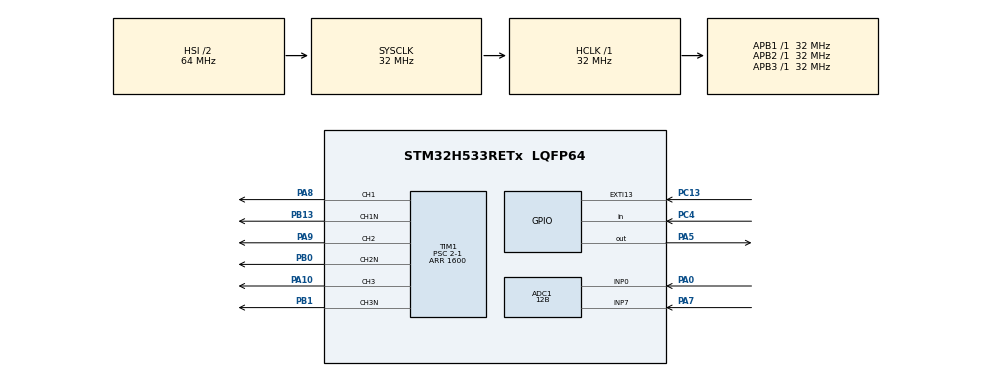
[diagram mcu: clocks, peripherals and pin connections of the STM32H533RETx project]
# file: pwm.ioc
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ADC1.Channel-1\#ChannelRegularConversion=ADC_CHANNEL_0
ADC1.MonitoredBy-1\#ChannelRegularConversion=__NULL
ADC1.NbrOfConversionFlag=1
ADC1.OffsetNumber-1\#ChannelRegularConversion=ADC_OFFSET_NONE
ADC1.Rank-1\#ChannelRegularConversion=1
ADC1.Resolution=ADC_RESOLUTION_12B
ADC1.SamplingTime-1\#ChannelRegularConversion=ADC_SAMPLETIME_2CYCLES_5
ADC1.master=1
BOOTPATH.BootPathName=LEGACY
BOOTPATH.UserSelectedBootPath=LEGACY
CORTEX_M33_NS.userName=CORTEX_M33
Mcu.Family=STM32H5
Mcu.Name=STM32H533RETx
Mcu.Package=LQFP64
NUCLEO-H533RE.BUTTON=1
NUCLEO-H533RE.LD4=true
NUCLEO-H533RE.VCP=true
NVIC.ADC1_IRQn=true\:0\:0\:false\:false\:true\:true\:true\:true
NVIC.EXTI13_IRQn=true\:0\:0\:false\:false\:true\:false\:true\:true
NVIC.PriorityGroup=NVIC_PRIORITYGROUP_4
NVIC.TIM6_IRQn=true\:0\:0\:false\:false\:true\:true\:true\:true
PA0.Signal=ADCx_INP0
PA10.Signal=S_TIM1_CH3
PA11.Signal=S_TIM1_CH4
PA13(JTMS/SWDIO).GPIO_Label=SWDIO
PA13(JTMS/SWDIO).Signal=DEBUG_JTMS-SWDIO
PA14(JTCK/SWCLK).GPIO_Label=SWCLK
PA14(JTCK/SWCLK).Signal=DEBUG_JTCK-SWCLK
PA15(JTDI).GPIO_Label=JTDI
PA15(JTDI).Signal=DEBUG_JTDI
PA2.Signal=USART2_TX
PA3.Signal=USART2_RX
PA5.Signal=GPIO_Output
PA7.Signal=ADCx_INP7
PA8.Signal=S_TIM1_CH1
PA9.Signal=S_TIM1_CH2
PB0.Mode=PWM Generation2 CH2 CH2N
PB0.Signal=TIM1_CH2N
PB1.Mode=PWM Generation3 CH3 CH3N
PB1.Signal=TIM1_CH3N
PB13.Mode=PWM Generation1 CH1 CH1N
PB13.Signal=TIM1_CH1N
PB3(JTDO/TRACESWO).GPIO_Label=SWO
PB3(JTDO/TRACESWO).Signal=DEBUG_JTDO-SWO
PC13.Signal=GPXTI13
PC4.Signal=GPIO_Input
ProjectManager.HeapSize=0x200
ProjectManager.StackSize=0x400
ProjectManager.TargetToolchain=STM32CubeIDE
RCC.ADCFreq_Value=32000000
RCC.AHBFreq_Value=32000000
RCC.APB1Freq_Value=32000000
RCC.APB1TimFreq_Value=32000000
RCC.APB2Freq_Value=32000000
RCC.APB2TimFreq_Value=32000000
RCC.APB3Freq_Value=32000000
RCC.CSI_VALUE=4000000
RCC.CortexFreq_Value=32000000
RCC.EPOD_VALUE=4000000
RCC.HCLKFreq_Value=32000000
RCC.HSE_VALUE=25000000
RCC.HSI48_VALUE=48000000
RCC.HSI_VALUE=64000000
RCC.LSE_VALUE=32768
RCC.LSIRC_VALUE=32000
RCC.SYSCLKFreq_VALUE=32000000
RCC.USBFreq_Value=48000000
RCC.VCOOutputFreq_Value=516000000
SH.ADCx_INP0.0=ADC1_INP0,IN0-Single-Ended
SH.ADCx_INP7.0=ADC1_INP7,IN7-Single-Ended
SH.S_TIM1_CH1.0=TIM1_CH1,PWM Generation1 CH1 CH1N
SH.S_TIM1_CH2.0=TIM1_CH2,PWM Generation2 CH2 CH2N
SH.S_TIM1_CH3.0=TIM1_CH3,PWM Generation3 CH3 CH3N
SH.S_TIM1_CH4.0=TIM1_CH4
TIM1.AsymmetricalDeadTime=ENABLE
TIM1.AutoReloadPreload=TIM_AUTORELOAD_PRELOAD_ENABLE
TIM1.Channel-PWM\ Generation1\ CH1\ CH1N=TIM_CHANNEL_1
TIM1.Channel-PWM\ Generation2\ CH2\ CH2N=TIM_CHANNEL_2
TIM1.Channel-PWM\ Generation3\ CH3\ CH3N=TIM_CHANNEL_3
TIM1.CounterMode=TIM_COUNTERMODE_CENTERALIGNED3
TIM1.DeadTime=75
TIM1.DeadTimePreload=DISABLE
TIM1.FallingDeadTime=75
TIM1.OCMode_PWM-PWM\ Generation2\ CH2\ CH2N=TIM_OCMODE_PWM1
TIM1.OCMode_PWM-PWM\ Generation3\ CH3\ CH3N=TIM_OCMODE_PWM1
TIM1.PeriodNoDither=1600
TIM1.Prescaler=2-1
TIM1.PulseNoDither_2=0
TIM1.PulseNoDither_3=0
TIM6.AutoReloadPreload=TIM_AUTORELOAD_PRELOAD_DISABLE
TIM6.PeriodNoDither=9143
TIM6.Prescaler=0
TIM6.TIM_MasterOutputTrigger=TIM_TRGO_RESET
VP_BOOTPATH_VS_BOOTPATH.Mode=BP_Activate
VP_CORTEX_M33_NS_VS_Hclk.Mode=Hclk_Mode
VP_MEMORYMAP_VS_MEMORYMAP.Mode=CurAppReg
VP_NUCLEO-H533RE_VS_BSP_COMMON.Mode=COMMON
VP_PWR_VS_LPOM.Mode=PowerOptimisation
VP_PWR_VS_SECSignals.Mode=Security/Privilege
VP_TIM1_VS_ClockSourceINT.Mode=Internal
VP_TIM6_VS_ClockSourceINT.Mode=Enable_Timer
board=NUCLEO-H533RE

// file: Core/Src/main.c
/* USER CODE BEGIN Header */
#include <stdbool.h>
/* USER CODE END Header */
#include "main.h"

COM_InitTypeDef BspCOMInit;
ADC_HandleTypeDef hadc1;

TIM_HandleTypeDef htim1;
TIM_HandleTypeDef htim6;

void SystemClock_Config(void);
static void MX_GPIO_Init(void);
static void MX_TIM6_Init(void);
static void MX_TIM1_Init(void);
static void MX_ADC1_Init(void);
/* USER CODE BEGIN PFP */
static void toggleUserLed(void);
/* USER CODE END PFP */

/* USER CODE BEGIN 0 */
uint16_t lookup_index = 0;
const uint16_t lookup_size = 100;
const uint16_t lookup1[100] = { 800, 849, 898, 946, 994, 1042, 1088, 1133, 1177, 1220, 1260, 1299, 1336, 1371, 1404, 1434, 1461, 1487, 1509, 1528, 1545, 1559, 1570, 1577, 1582, 1584, 1582, 1577, 1570, 1559, 1545, 1528, 1509, 1487, 1461, 1434, 1404, 1371, 1336, 1299, 1260, 1220, 1177, 1133, 1088, 1042, 994, 946, 898, 849, 799, 750, 701, 653, 605, 557, 511, 466, 422, 379, 339, 300, 263, 228, 195, 165, 138, 112, 90, 71, 54, 40, 29, 22, 17, 16, 17, 22, 29, 40, 54, 71, 90, 112, 138, 165, 195, 228, 263, 300, 339, 379, 422, 466, 511, 557, 605, 653, 701, 750 };
const uint16_t lookup2[100] = { 1478, 1453, 1424, 1393, 1360, 1324, 1286, 1247, 1206, 1163, 1118, 1073, 1026, 979, 930, 881, 832, 783, 734, 685, 636, 589, 542, 496, 451, 407, 366, 325, 287, 251, 217, 185, 156, 129, 105, 83, 65, 49, 36, 26, 20, 16, 16, 18, 24, 33, 44, 59, 77, 97, 121, 146, 175, 206, 239, 275, 313, 352, 393, 436, 481, 526, 573, 620, 669, 718, 767, 816, 865, 914, 963, 1010, 1057, 1103, 1148, 1192, 1233, 1274, 1312, 1348, 1382, 1414, 1443, 1470, 1494, 1516, 1534, 1550, 1563, 1573, 1579, 1583, 1583, 1581, 1575, 1566, 1555, 1540, 1522, 1502 };
const uint16_t lookup3[100] = { 121, 97, 77, 59, 44, 33, 24, 18, 16, 16, 20, 26, 36, 49, 65, 83, 105, 129, 156, 185, 217, 251, 287, 325, 366, 407, 451, 496, 542, 589, 636, 685, 734, 783, 832, 881, 930, 979, 1026, 1073, 1118, 1163, 1206, 1247, 1286, 1324, 1360, 1393, 1424, 1453, 1478, 1502, 1522, 1540, 1555, 1566, 1575, 1581, 1583, 1583, 1579, 1573, 1563, 1550, 1534, 1516, 1494, 1470, 1443, 1414, 1382, 1348, 1312, 1274, 1233, 1192, 1148, 1103, 1057, 1010, 963, 914, 865, 816, 767, 718, 669, 620, 573, 526, 481, 436, 393, 352, 313, 275, 239, 206, 175, 146 };

uint16_t AD_RES = 0;

/* USER CODE END 0 */

int main(void)
{

  /* MCU Configuration--------------------------------------------------------*/

  /* Reset of all peripherals, Initializes the Flash interface and the Systick. */
  HAL_Init();

  /* Configure the system clock */
  SystemClock_Config();

  /* Initialize all configured peripherals */
  MX_GPIO_Init();
  MX_TIM6_Init();
  MX_TIM1_Init();
  MX_ADC1_Init();
  /* USER CODE BEGIN 2 */

  // Calibrate The ADC On Power-Up For Better Accuracy
  HAL_ADCEx_Calibration_Start(&hadc1, ADC_SINGLE_ENDED);
  HAL_TIM_Base_Start_IT(&htim6);

  /* USER CODE END 2 */

  /* Initialize leds */
  BSP_LED_Init(LED_GREEN);

  /* Initialize USER push-button, will be used to trigger an interrupt each time it's pressed.*/
  BSP_PB_Init(BUTTON_USER, BUTTON_MODE_EXTI);

  /* Initialize COM1 port (115200, 8 bits (7-bit data + 1 stop bit), no parity */
  BspCOMInit.BaudRate   = 115200;
  BspCOMInit.WordLength = COM_WORDLENGTH_8B;
  BspCOMInit.StopBits   = COM_STOPBITS_1;
  BspCOMInit.Parity     = COM_PARITY_NONE;
  BspCOMInit.HwFlowCtl  = COM_HWCONTROL_NONE;
  if (BSP_COM_Init(COM1, &BspCOMInit) != BSP_ERROR_NONE)
  {
    Error_Handler();
  }

  /* Infinite loop */
  /* USER CODE BEGIN WHILE */
  HAL_TIM_PWM_Start(&htim1, TIM_CHANNEL_1);
  HAL_TIM_PWM_Start(&htim1, TIM_CHANNEL_2);
  HAL_TIM_PWM_Start(&htim1, TIM_CHANNEL_3);
  HAL_TIMEx_PWMN_Start(&htim1, TIM_CHANNEL_1);
  HAL_TIMEx_PWMN_Start(&htim1, TIM_CHANNEL_2);
  HAL_TIMEx_PWMN_Start(&htim1, TIM_CHANNEL_3);
  __HAL_TIM_ENABLE_IT(&htim6, TIM_IT_UPDATE);

  HAL_ADC_Start_IT(&hadc1);

  while (1)
  {
	  if(AD_RES > 1024)
	  {
		  HAL_GPIO_WritePin(GPIOA, GPIO_PIN_5, GPIO_PIN_SET);
	  }
	  else
	  {
		  HAL_GPIO_WritePin(GPIOA, GPIO_PIN_5, GPIO_PIN_RESET);
	  }
    /* USER CODE END WHILE */

  }
}

void SystemClock_Config(void)
{
  RCC_OscInitTypeDef RCC_OscInitStruct = {0};
  RCC_ClkInitTypeDef RCC_ClkInitStruct = {0};

  /** Configure the main internal regulator output voltage
  */
  __HAL_PWR_VOLTAGESCALING_CONFIG(PWR_REGULATOR_VOLTAGE_SCALE3);

  while(!__HAL_PWR_GET_FLAG(PWR_FLAG_VOSRDY)) {}

  /** Initializes the RCC Oscillators according to the specified parameters
  * in the RCC_OscInitTypeDef structure.
  */
  RCC_OscInitStruct.OscillatorType = RCC_OSCILLATORTYPE_HSI;
  RCC_OscInitStruct.HSIState = RCC_HSI_ON;
  RCC_OscInitStruct.HSIDiv = RCC_HSI_DIV2;
  RCC_OscInitStruct.HSICalibrationValue = RCC_HSICALIBRATION_DEFAULT;
  RCC_OscInitStruct.PLL.PLLState = RCC_PLL_NONE;
  if (HAL_RCC_OscConfig(&RCC_OscInitStruct) != HAL_OK)
  {
    Error_Handler();
  }

  /** Initializes the CPU, AHB and APB buses clocks
  */
  RCC_ClkInitStruct.ClockType = RCC_CLOCKTYPE_HCLK|RCC_CLOCKTYPE_SYSCLK
                              |RCC_CLOCKTYPE_PCLK1|RCC_CLOCKTYPE_PCLK2
                              |RCC_CLOCKTYPE_PCLK3;
  RCC_ClkInitStruct.SYSCLKSource = RCC_SYSCLKSOURCE_HSI;
  RCC_ClkInitStruct.AHBCLKDivider = RCC_SYSCLK_DIV1;
  RCC_ClkInitStruct.APB1CLKDivider = RCC_HCLK_DIV1;
  RCC_ClkInitStruct.APB2CLKDivider = RCC_HCLK_DIV1;
  RCC_ClkInitStruct.APB3CLKDivider = RCC_HCLK_DIV1;

  if (HAL_RCC_ClockConfig(&RCC_ClkInitStruct, FLASH_LATENCY_1) != HAL_OK)
  {
    Error_Handler();
  }

  /** Configure the programming delay
  */
  __HAL_FLASH_SET_PROGRAM_DELAY(FLASH_PROGRAMMING_DELAY_0);
}

static void MX_ADC1_Init(void)
{

  ADC_ChannelConfTypeDef sConfig = {0};

  /** Common config
  */
  hadc1.Instance = ADC1;
  hadc1.Init.ClockPrescaler = ADC_CLOCK_ASYNC_DIV1;
  hadc1.Init.Resolution = ADC_RESOLUTION_12B;
  hadc1.Init.DataAlign = ADC_DATAALIGN_RIGHT;
  hadc1.Init.ScanConvMode = ADC_SCAN_DISABLE;
  hadc1.Init.EOCSelection = ADC_EOC_SINGLE_CONV;
  hadc1.Init.LowPowerAutoWait = DISABLE;
  hadc1.Init.ContinuousConvMode = DISABLE;
  hadc1.Init.NbrOfConversion = 1;
  hadc1.Init.DiscontinuousConvMode = DISABLE;
  hadc1.Init.ExternalTrigConv = ADC_SOFTWARE_START;
  hadc1.Init.ExternalTrigConvEdge = ADC_EXTERNALTRIGCONVEDGE_NONE;
  hadc1.Init.DMAContinuousRequests = DISABLE;
  hadc1.Init.SamplingMode = ADC_SAMPLING_MODE_NORMAL;
  hadc1.Init.Overrun = ADC_OVR_DATA_PRESERVED;
  hadc1.Init.OversamplingMode = DISABLE;
  if (HAL_ADC_Init(&hadc1) != HAL_OK)
  {
    Error_Handler();
  }

  /** Configure Regular Channel
  */
  sConfig.Channel = ADC_CHANNEL_0;
  sConfig.Rank = ADC_REGULAR_RANK_1;
  sConfig.SamplingTime = ADC_SAMPLETIME_2CYCLES_5;
  sConfig.SingleDiff = ADC_SINGLE_ENDED;
  sConfig.OffsetNumber = ADC_OFFSET_NONE;
  sConfig.Offset = 0;
  if (HAL_ADC_ConfigChannel(&hadc1, &sConfig) != HAL_OK)
  {
    Error_Handler();
  }

}

static void MX_TIM1_Init(void)
{

  TIM_ClockConfigTypeDef sClockSourceConfig = {0};
  TIM_MasterConfigTypeDef sMasterConfig = {0};
  TIM_OC_InitTypeDef sConfigOC = {0};
  TIM_BreakDeadTimeConfigTypeDef sBreakDeadTimeConfig = {0};

  htim1.Instance = TIM1;
  htim1.Init.Prescaler = 2-1;
  htim1.Init.CounterMode = TIM_COUNTERMODE_CENTERALIGNED3;
  htim1.Init.Period = 1600;
  htim1.Init.ClockDivision = TIM_CLOCKDIVISION_DIV1;
  htim1.Init.RepetitionCounter = 0;
  htim1.Init.AutoReloadPreload = TIM_AUTORELOAD_PRELOAD_ENABLE;
  if (HAL_TIM_Base_Init(&htim1) != HAL_OK)
  {
    Error_Handler();
  }
  sClockSourceConfig.ClockSource = TIM_CLOCKSOURCE_INTERNAL;
  if (HAL_TIM_ConfigClockSource(&htim1, &sClockSourceConfig) != HAL_OK)
  {
    Error_Handler();
  }
  if (HAL_TIM_PWM_Init(&htim1) != HAL_OK)
  {
    Error_Handler();
  }
  sMasterConfig.MasterOutputTrigger = TIM_TRGO_RESET;
  sMasterConfig.MasterOutputTrigger2 = TIM_TRGO2_RESET;
  sMasterConfig.MasterSlaveMode = TIM_MASTERSLAVEMODE_DISABLE;
  if (HAL_TIMEx_MasterConfigSynchronization(&htim1, &sMasterConfig) != HAL_OK)
  {
    Error_Handler();
  }
  sConfigOC.OCMode = TIM_OCMODE_PWM1;
  sConfigOC.Pulse = 0;
  sConfigOC.OCPolarity = TIM_OCPOLARITY_HIGH;
  sConfigOC.OCNPolarity = TIM_OCNPOLARITY_HIGH;
  sConfigOC.OCFastMode = TIM_OCFAST_DISABLE;
  sConfigOC.OCIdleState = TIM_OCIDLESTATE_RESET;
  sConfigOC.OCNIdleState = TIM_OCNIDLESTATE_RESET;
  if (HAL_TIM_PWM_ConfigChannel(&htim1, &sConfigOC, TIM_CHANNEL_1) != HAL_OK)
  {
    Error_Handler();
  }
  if (HAL_TIM_PWM_ConfigChannel(&htim1, &sConfigOC, TIM_CHANNEL_2) != HAL_OK)
  {
    Error_Handler();
  }
  if (HAL_TIM_PWM_ConfigChannel(&htim1, &sConfigOC, TIM_CHANNEL_3) != HAL_OK)
  {
    Error_Handler();
  }
  HAL_TIMEx_ConfigAsymmetricalDeadTime(&htim1, 75);
  HAL_TIMEx_EnableAsymmetricalDeadTime(&htim1);
  sBreakDeadTimeConfig.OffStateRunMode = TIM_OSSR_DISABLE;
  sBreakDeadTimeConfig.OffStateIDLEMode = TIM_OSSI_DISABLE;
  sBreakDeadTimeConfig.LockLevel = TIM_LOCKLEVEL_OFF;
  sBreakDeadTimeConfig.DeadTime = 75;
  sBreakDeadTimeConfig.BreakState = TIM_BREAK_DISABLE;
  sBreakDeadTimeConfig.BreakPolarity = TIM_BREAKPOLARITY_HIGH;
  sBreakDeadTimeConfig.BreakFilter = 0;
  sBreakDeadTimeConfig.BreakAFMode = TIM_BREAK_AFMODE_INPUT;
  sBreakDeadTimeConfig.Break2State = TIM_BREAK2_DISABLE;
  sBreakDeadTimeConfig.Break2Polarity = TIM_BREAK2POLARITY_HIGH;
  sBreakDeadTimeConfig.Break2Filter = 0;
  sBreakDeadTimeConfig.Break2AFMode = TIM_BREAK_AFMODE_INPUT;
  sBreakDeadTimeConfig.AutomaticOutput = TIM_AUTOMATICOUTPUT_DISABLE;
  if (HAL_TIMEx_ConfigBreakDeadTime(&htim1, &sBreakDeadTimeConfig) != HAL_OK)
  {
    Error_Handler();
  }
  HAL_TIM_MspPostInit(&htim1);

}

static void MX_TIM6_Init(void)
{

  TIM_MasterConfigTypeDef sMasterConfig = {0};

  htim6.Instance = TIM6;
  htim6.Init.Prescaler = 0;
  htim6.Init.CounterMode = TIM_COUNTERMODE_UP;
  htim6.Init.Period = 9143;
  htim6.Init.AutoReloadPreload = TIM_AUTORELOAD_PRELOAD_DISABLE;
  if (HAL_TIM_Base_Init(&htim6) != HAL_OK)
  {
    Error_Handler();
  }
  sMasterConfig.MasterOutputTrigger = TIM_TRGO_RESET;
  sMasterConfig.MasterSlaveMode = TIM_MASTERSLAVEMODE_DISABLE;
  if (HAL_TIMEx_MasterConfigSynchronization(&htim6, &sMasterConfig) != HAL_OK)
  {
    Error_Handler();
  }

}

static void MX_GPIO_Init(void)
{
  GPIO_InitTypeDef GPIO_InitStruct = {0};

  /* GPIO Ports Clock Enable */
  __HAL_RCC_GPIOA_CLK_ENABLE();
  __HAL_RCC_GPIOC_CLK_ENABLE();
  __HAL_RCC_GPIOB_CLK_ENABLE();

  /*Configure GPIO pin : PC4 */
  GPIO_InitStruct.Pin = GPIO_PIN_4;
  GPIO_InitStruct.Mode = GPIO_MODE_INPUT;
  GPIO_InitStruct.Pull = GPIO_NOPULL;
  HAL_GPIO_Init(GPIOC, &GPIO_InitStruct);

  /* USER CODE BEGIN MX_GPIO_Init_2 */
  GPIO_InitStruct.Pin = GPIO_PIN_5;
  GPIO_InitStruct.Mode = GPIO_MODE_OUTPUT_PP;
  GPIO_InitStruct.Pull = GPIO_NOPULL;
  GPIO_InitStruct.Speed = GPIO_SPEED_FREQ_LOW;
  HAL_GPIO_Init(GPIOA, &GPIO_InitStruct); // Claim PA5 (user LED)
  /* USER CODE END MX_GPIO_Init_2 */
}

/* USER CODE BEGIN 4 */
void toggleUserLed(void)
{
	HAL_GPIO_TogglePin(GPIOA, GPIO_PIN_5);
}

void HAL_ADC_ConvCpltCallback(ADC_HandleTypeDef* hadc)
{
	AD_RES = HAL_ADC_GetValue(&hadc1);
}

void HAL_TIM_PeriodElapsedCallback(TIM_HandleTypeDef *htim)
{
    if(htim == &htim6)
    {
    	//toggleUserLed(); // just for debug, check on PA5
        lookup_index++;
        if(lookup_index >= lookup_size)
        {
            lookup_index = 0;
        }

        uint16_t c1 = lookup1[lookup_index];
        uint16_t c2 = lookup2[lookup_index];
        uint16_t c3 = lookup3[lookup_index];

        TIM1->CCR2 = c1;
        TIM1->CCR3 = c2;
        TIM1->CCR1 = c3; // channel 1 is third output phase
    }
}
/* USER CODE END 4 */

void Error_Handler(void)
{
  __disable_irq();
  while (1)
  {
  }
}
